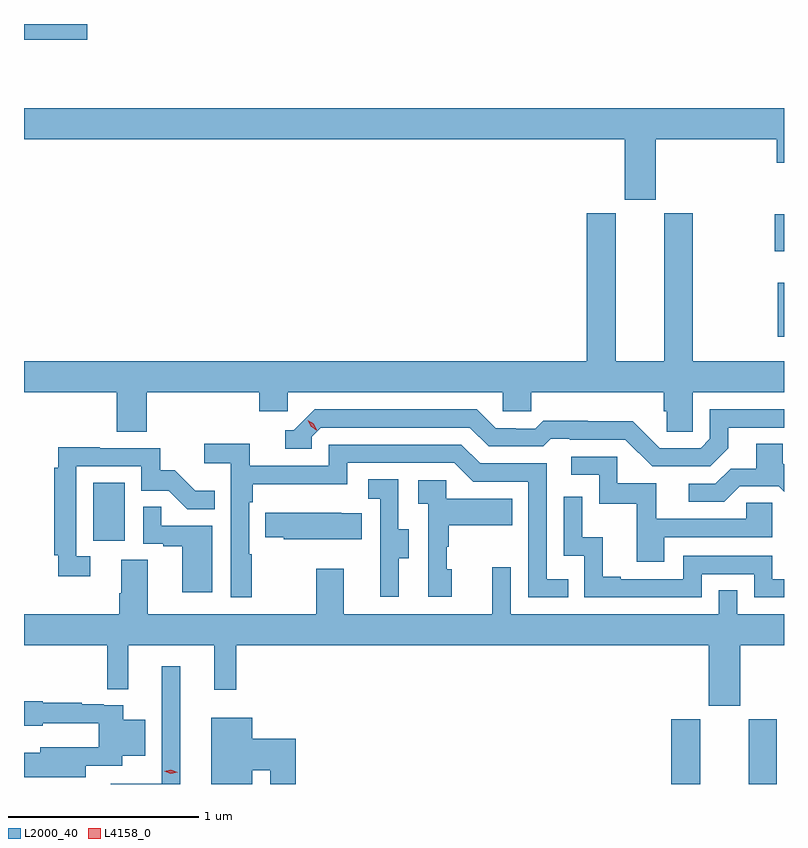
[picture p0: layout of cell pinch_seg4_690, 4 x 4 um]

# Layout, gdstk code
import gdstk
lib = gdstk.Library(unit=1e-6, precision=1e-09)
def R(c, l, rs):  # rectangles x0, y0, x1, y1
    for r in rs: c.add(gdstk.rectangle(r[:2], r[2:], *l))
def P(c, l, *ps):  # polygons
    for p in ps: c.add(gdstk.Polygon(p, *l))
L2000_40 = (2000, 40)
L4158_0 = (4158, 0)

pinch_seg4_690 = lib.new_cell('pinch_seg4_690')
R(pinch_seg4_690, L2000_40, [(1115.636,749.471,1115.788,749.811), (1116.044,749.471,1116.192,749.811), (1112.594,750.75,1112.758,751.057), (1116.196,751.824,1116.229,752.11), (1116.181,752.276,1116.229,752.47), (1112.229,753.388,1112.563,753.471)])
P(pinch_seg4_690, L2000_40, [(1115.554,752.864),(1116.191,752.864),(1116.191,752.74),(1116.229,752.74),(1116.229,753.028),(1112.229,753.028),(1112.229,752.864),(1115.39,752.864),(1115.39,752.547),(1115.554,752.547)],
  [(1112.876,751.532),(1113.467,751.532),(1113.467,751.434),(1113.618,751.434),(1113.618,751.532),(1114.749,751.532),(1114.749,751.434),(1114.899,751.434),(1114.899,751.532),(1115.597,751.532),(1115.597,751.434),(1115.611,751.434),(1115.611,751.324),(1115.748,751.324),(1115.748,751.532),(1116.229,751.532),(1116.229,751.696),(1115.748,751.696),(1115.748,752.475),(1115.6,752.475),(1115.6,751.696),(1115.344,751.696),(1115.344,752.475),(1115.192,752.475),(1115.192,751.696),(1112.229,751.696),(1112.229,751.532),(1112.716,751.532),(1112.716,751.324),(1112.876,751.324)],
  [(1115.935,751.237),(1115.935,751.347),(1116.229,751.347),(1116.229,751.443),(1115.838,751.443),(1115.838,751.287),(1115.79,751.239),(1115.574,751.239),(1115.432,751.381),(1115.196,751.381),(1115.196,751.384),(1114.963,751.384),(1114.921,751.341),(1114.818,751.341),(1114.818,751.344),(1114.711,751.344),(1114.612,751.443),(1113.759,751.443),(1113.648,751.332),(1113.605,751.332),(1113.605,751.236),(1113.744,751.236),(1113.744,751.299),(1113.792,751.347),(1114.575,751.347),(1114.674,751.248),(1114.963,751.248),(1115.002,751.287),(1115.101,751.287),(1115.101,751.284),(1115.394,751.284),(1115.535,751.143),(1115.841,751.143)],
  [(1115.995,751.038),(1116.201,751.038),(1116.229,751.01),(1116.229,751.154),(1116.223,751.16),(1116.223,751.262),(1116.083,751.262),(1116.083,751.13),(1115.948,751.13),(1115.868,751.05),(1115.727,751.05),(1115.727,750.957),(1115.914,750.957)],
  [(1113.427,750.68),(1113.414,750.68),(1113.414,750.953),(1113.434,750.953),(1113.434,751.049),(1113.93,751.049),(1113.93,751.161),(1114.494,751.161),(1114.593,751.062),(1114.884,751.062),(1114.884,750.453),(1115.093,750.453),(1115.093,750.549),(1114.98,750.549),(1114.98,751.158),(1114.63,751.158),(1114.531,751.257),(1113.834,751.257),(1113.834,751.146),(1113.416,751.146),(1113.416,751.262),(1113.177,751.262),(1113.177,751.16),(1113.318,751.16),(1113.318,750.453),(1113.427,750.453)],
  [(1112.578,750.669),(1112.505,750.669),(1112.505,751.143),(1112.847,751.143),(1112.847,751.014),(1112.991,751.014),(1113.089,750.916),(1113.233,750.916),(1113.233,751.015),(1113.129,751.015),(1113.022,751.122),(1112.946,751.122),(1112.946,751.239),(1112.627,751.239),(1112.627,751.244),(1112.408,751.244),(1112.408,751.136),(1112.389,751.136),(1112.389,750.676),(1112.408,750.676),(1112.408,750.564),(1112.578,750.564)],
  [(1115.599,750.771),(1116.168,750.771),(1116.168,750.951),(1116.031,750.951),(1116.031,750.867),(1115.557,750.867),(1115.557,751.053),(1115.352,751.053),(1115.352,751.194),(1115.109,751.194),(1115.109,751.098),(1115.256,751.098),(1115.256,750.945),(1115.455,750.945),(1115.455,750.642),(1115.599,750.642)],
  [(1114.201,750.658),(1114.255,750.658),(1114.255,750.813),(1114.2,750.813),(1114.2,751.076),(1114.041,751.076),(1114.041,750.973),(1114.104,750.973),(1114.104,750.669),(1114.103,750.669),(1114.103,750.456),(1114.201,750.456)],
  [(1114.48,750.6),(1114.455,750.6),(1114.455,750.719),(1114.465,750.719),(1114.465,750.833),(1114.799,750.833),(1114.799,750.973),(1114.452,750.973),(1114.452,751.071),(1114.305,751.071),(1114.305,750.947),(1114.356,750.947),(1114.356,750.456),(1114.48,750.456)],
  [(1115.796,750.576),(1116.072,750.576),(1116.072,750.453),(1116.229,750.453),(1116.229,750.549),(1116.168,750.549),(1116.168,750.672),(1115.7,750.672),(1115.7,750.549),(1115.371,750.549),(1115.371,750.562),(1115.276,750.562),(1115.276,750.77),(1115.166,750.77),(1115.166,750.982),(1115.07,750.982),(1115.07,750.672),(1115.178,750.672),(1115.178,750.453),(1115.796,750.453)],
  [(1113.22,750.831),(1112.951,750.831),(1112.951,750.929),(1112.856,750.929),(1112.856,750.735),(1112.963,750.735),(1112.963,750.723),(1113.062,750.723),(1113.062,750.48),(1113.22,750.48)],
  [(1114.007,750.895),(1113.899,750.895),(1113.899,750.898),(1113.499,750.898),(1113.499,750.769),(1113.597,750.769),(1113.597,750.758),(1114.007,750.758)],
  [(1115.998,750.2),(1116.229,750.2),(1116.229,750.364),(1115.982,750.364),(1115.982,750.491),(1115.886,750.491),(1115.886,750.364),(1114.791,750.364),(1114.791,750.613),(1114.694,750.613),(1114.694,750.364),(1113.913,750.364),(1113.913,750.604),(1113.766,750.604),(1113.766,750.364),(1112.881,750.364),(1112.881,750.65),(1112.741,750.65),(1112.741,750.476),(1112.729,750.476),(1112.729,750.364),(1112.229,750.364),(1112.229,750.2),(1112.668,750.2),(1112.668,749.971),(1112.777,749.971),(1112.777,750.2),(1113.23,750.2),(1113.23,749.967),(1113.347,749.967),(1113.347,750.2),(1115.834,750.2),(1115.834,749.883),(1115.998,749.883)],
  [(1113.052,750.091),(1112.955,750.091),(1112.955,749.473),(1112.685,749.473),(1112.685,749.471),(1113.052,749.471)],
  [(1112.554,749.568),(1112.746,749.568),(1112.746,749.621),(1112.866,749.621),(1112.866,749.809),(1112.752,749.809),(1112.752,749.886),(1112.648,749.886),(1112.648,749.892),(1112.534,749.892),(1112.534,749.899),(1112.328,749.899),(1112.328,749.907),(1112.229,749.907),(1112.229,749.777),(1112.328,749.777),(1112.328,749.79),(1112.623,749.79),(1112.623,749.664),(1112.315,749.664),(1112.315,749.635),(1112.229,749.635),(1112.229,749.506),(1112.554,749.506)],
  [(1113.43,749.543),(1113.524,749.543),(1113.524,749.471),(1113.659,749.471),(1113.659,749.708),(1113.43,749.708),(1113.43,749.821),(1113.215,749.821),(1113.215,749.471),(1113.43,749.471)])
P(pinch_seg4_690, L4158_0, [(1113.768,751.334),(1113.738,751.353),(1113.722,751.386),(1113.722,751.386),(1113.722,751.386),(1113.753,751.366),(1113.769,751.334),(1113.769,751.334)],
  [(1113.001,749.526),(1112.966,749.537),(1112.965,749.537),(1112.966,749.538),(1113.002,749.546),(1113.037,749.534),(1113.037,749.534),(1113.037,749.534)])

lib.write_gds('pinch_seg4_690.gds')
